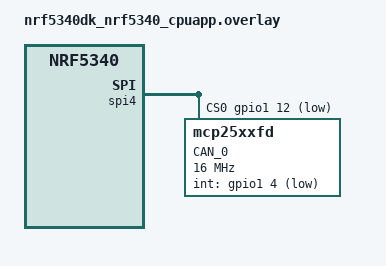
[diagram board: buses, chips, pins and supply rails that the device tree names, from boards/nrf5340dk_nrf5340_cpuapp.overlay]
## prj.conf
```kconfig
CONFIG_CAN=y
CONFIG_NET_L2_ETHERNET=n
CONFIG_CAN_MAX_FILTER=5

# CONFIG_NETWORKING=y
# CONFIG_NET_DRIVERS=y
# CONFIG_NET_CANBUS=y
# CONFIG_NET_SOCKETS=y
# CONFIG_NET_SOCKETS_CAN=y
# CONFIG_NET_SOCKETS_POSIX_NAMES=y

# CONFIG_NET_IPV6=n
# CONFIG_NET_IPV4=n
# CONFIG_NET_MGMT=n
# CONFIG_NET_TCP=n
# CONFIG_NET_UDP=n

# CONFIG_NET_DEFAULT_IF_CANBUS_RAW=y

# CONFIG_NET_PKT_RX_COUNT=30
# CONFIG_NET_PKT_TX_COUNT=30
# CONFIG_NET_BUF_RX_COUNT=30
# CONFIG_NET_BUF_TX_COUNT=30

# CONFIG_TEST_RANDOM_GENERATOR=y

# CONFIG_LOG=y
# CONFIG_NET_LOG=y

# CONFIG_NET_SOCKETS_LOG_LEVEL_DBG=y
# CONFIG_CAN_LOG_LEVEL_DBG=y
# #CONFIG_NET_CONTEXT_LOG_LEVEL_DBG=y
# #CONFIG_NET_CORE_LOG_LEVEL_DBG=y
# #CONFIG_NET_CONN_LOG_LEVEL_DBG=y

# # Use smaller buffers for net_buf as CANBUS packets are quite small.
# CONFIG_NET_BUF_DATA_SIZE=64

# # nothing here
# CONFIG_CAN=y
# # CONFIG_NET_L2_ETHERNET=n

# CONFIG_SPI=y

# CONFIG_CAN=y
# CONFIG_NET_L2_ETHERNET=n
# CONFIG_CAN_MAX_FILTER=5

# CONFIG_NETWORKING=y
# CONFIG_NET_DRIVERS=y
# CONFIG_NET_CANBUS=y
# CONFIG_NET_SOCKETS=y
# CONFIG_NET_SOCKETS_CAN=y
# CONFIG_NET_SOCKETS_POSIX_NAMES=y

# CONFIG_NET_IPV6=n
# CONFIG_NET_IPV4=n
# CONFIG_NET_MGMT=n
# CONFIG_NET_TCP=n
# CONFIG_NET_UDP=n

# CONFIG_NET_DEFAULT_IF_CANBUS_RAW=y

# CONFIG_NET_PKT_RX_COUNT=30
# CONFIG_NET_PKT_TX_COUNT=30
# CONFIG_NET_BUF_RX_COUNT=30
# CONFIG_NET_BUF_TX_COUNT=30

# CONFIG_TEST_RANDOM_GENERATOR=y

# CONFIG_LOG=y
# CONFIG_NET_LOG=y

# CONFIG_NET_SOCKETS_LOG_LEVEL_DBG=y
# CONFIG_CAN_LOG_LEVEL_DBG=y
# #CONFIG_NET_CONTEXT_LOG_LEVEL_DBG=y
# #CONFIG_NET_CORE_LOG_LEVEL_DBG=y
# #CONFIG_NET_CONN_LOG_LEVEL_DBG=y

# # Use smaller buffers for net_buf as CANBUS packets are quite small.
# CONFIG_NET_BUF_DATA_SIZE=64

CONFIG_POLL=y
CONFIG_CAN=y
CONFIG_CAN_INIT_PRIORITY=80
CONFIG_CAN_MAX_FILTER=5

CONFIG_SHELL=y
CONFIG_CAN_SHELL=y
CONFIG_DEVICE_SHELL=y

CONFIG_GPIO=y
CONFIG_STATS=y
CONFIG_STATS_NAMES=y
CONFIG_STATS_SHELL=y
CONFIG_CAN_STATS=y
```

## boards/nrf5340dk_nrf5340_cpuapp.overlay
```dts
/*
 * Copyright (c) 2021 Nordic Semiconductor ASA
 *
 * SPDX-License-Identifier: LicenseRef-Nordic-5-Clause
 */

&spi4 {
	compatible = "nordic,nrf-spim";
	status = "okay";
    cs-gpios = <&gpio1 12 GPIO_ACTIVE_LOW>; /* D10 */

    can0: mcp25xxfd@0 {
        // compatible = "microchip,mcp25xxfd";
        spi-max-frequency = <16000000>;
        // int-gpios = <&gpio0 5 GPIO_ACTIVE_LOW>;
        int-gpios = <&gpio1 4 GPIO_ACTIVE_LOW>; /* D2 */
        status = "okay";
        label = "CAN_0";
        reg = <0>;
        osc-freq = <40000000>;
        sof-on-clko;
        bus-speed = <1000000>;
        bus-speed-data = <8000000>;
        sjw = <5>;
        prop-seg = <18>;
        phase-seg1 = <10>;
        phase-seg2 = <11>;
        sjw-data = <1>;
        prop-seg-data = <0>;
        phase-seg1-data = <3>;
        phase-seg2-data = <1>;

        #address-cells = <1>;
        #size-cells = <0>;
    };
};

/ {
    chosen {
        zephyr,can-primary = &can0;
    };
};
```

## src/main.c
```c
/*
 * Copyright (c) 2018 Intel Corporation.
 *
 * SPDX-License-Identifier: Apache-2.0
 */

#include <zephyr/logging/log.h>
LOG_MODULE_REGISTER(net_socket_can_sample, LOG_LEVEL_DBG);

#include <zephyr/kernel.h>

#include <zephyr/drivers/can.h>
#include <zephyr/net/socket.h>
#include <zephyr/net/socketcan.h>
#include <zephyr/net/socketcan_utils.h>

// #define PRIORITY  k_thread_priority_get(k_current_get())
// #define STACKSIZE 1024
// #define SLEEP_PERIOD K_SECONDS(1)

// static k_tid_t tx_tid;
// static K_THREAD_STACK_DEFINE(tx_stack, STACKSIZE);
// static struct k_thread tx_data;

/* For testing purposes, we create another RX receiver if configured so */
#if CONFIG_NET_SOCKETS_CAN_RECEIVERS == 2
static k_tid_t rx_tid;
static K_THREAD_STACK_DEFINE(rx_stack, STACKSIZE);
static struct k_thread rx_data;
#endif

// #define SPI1_NODE DT_NODELABEL(spi4)
// static const struct device *spi1_dev=DEVICE_DT_GET(SPI1_NODE);

// #define CLOSE_PERIOD 15

// static const struct can_filter zfilter = {
// 	.flags = CAN_FILTER_DATA,
// 	.id = 0x1,
// 	.mask = CAN_STD_ID_MASK
// };

// static struct socketcan_filter sfilter;

// static void tx(int *can_fd)
// {
// 	int fd = POINTER_TO_INT(can_fd);
// 	struct can_frame zframe = {0};
// 	struct socketcan_frame sframe = {0};
// 	int ret, i;

// 	zframe.id = 0x1;
// 	zframe.dlc = 8U;

// 	for (i = 0; i < zframe.dlc; i++) {
// 		zframe.data[i] = 0xF0 | i;
// 	}

// 	socketcan_from_can_frame(&zframe, &sframe);

// 	LOG_DBG("Sending CAN data...");

// 	while (1) {
// 		ret = send(fd, &sframe, sizeof(sframe), 0);
// 		if (ret < 0) {
// 			LOG_ERR("Cannot send CAN frame (%d)", -errno);
// 		}

// 		k_sleep(SLEEP_PERIOD);
// 	}
// }

// static int create_socket(const struct socketcan_filter *sfilter)
// {
// 	struct sockaddr_can can_addr;
// 	int fd, ret;

// 	fd = socket(AF_CAN, SOCK_RAW, CAN_RAW);
// 	if (fd < 0) {
// 		LOG_ERR("Cannot create %s CAN socket (%d)", "2nd", fd);
// 		return fd;
// 	}

// 	can_addr.can_ifindex = net_if_get_by_iface(
// 		net_if_get_first_by_type(&NET_L2_GET_NAME(CANBUS_RAW)));
// 	can_addr.can_family = PF_CAN;

// 	ret = bind(fd, (struct sockaddr *)&can_addr, sizeof(can_addr));
// 	if (ret < 0) {
// 		LOG_ERR("Cannot bind %s CAN socket (%d)", "2nd", -errno);
// 		(void)close(fd);
// 		return ret;
// 	}

// 	(void)setsockopt(fd, SOL_CAN_RAW, CAN_RAW_FILTER, sfilter,
// 			 sizeof(*sfilter));

// 	return fd;
// }

// static void rx(int *can_fd, int *do_close_period,
// 	       const struct socketcan_filter *sfilter)
// {
// 	int close_period = POINTER_TO_INT(do_close_period);
// 	int fd = POINTER_TO_INT(can_fd);
// 	struct sockaddr_can can_addr;
// 	socklen_t addr_len;
// 	struct can_frame zframe;
// 	struct socketcan_frame sframe;
// 	int ret;

// 	LOG_DBG("[%d] Waiting CAN data...", fd);

// 	while (1) {
// 		uint8_t *data;

// 		memset(&sframe, 0, sizeof(sframe));
// 		addr_len = sizeof(can_addr);

// 		ret = recvfrom(fd, &sframe, sizeof(struct socketcan_frame),
// 			       0, (struct sockaddr *)&can_addr, &addr_len);
// 		if (ret < 0) {
// 			LOG_ERR("[%d] Cannot receive CAN frame (%d)", fd,
// 				-errno);
// 			continue;
// 		}

// 		socketcan_to_can_frame(&sframe, &zframe);

// 		LOG_INF("[%d] CAN frame: IDE 0x%x RTR 0x%x ID 0x%x DLC 0x%x",
// 			fd,
// 			(zframe.flags & CAN_FRAME_IDE) != 0 ? 1 : 0,
// 			(zframe.flags & CAN_FRAME_RTR) != 0 ? 1 : 0,
// 			zframe.id, zframe.dlc);

// 		if ((zframe.flags & CAN_FRAME_RTR) != 0) {
// 			LOG_INF("[%d] EXT Remote frame received", fd);
// 		} else {
// 			if (zframe.dlc > 8) {
// 				data = (uint8_t *)zframe.data_32;
// 			} else {
// 				data = zframe.data;
// 			}

// 			LOG_HEXDUMP_INF(data, zframe.dlc, "Data");
// 		}

// 		if (POINTER_TO_INT(do_close_period) > 0) {
// 			close_period--;
// 			if (close_period <= 0) {
// 				(void)close(fd);

// 				k_sleep(K_SECONDS(1));

// 				fd = create_socket(sfilter);
// 				if (fd < 0) {
// 					LOG_ERR("Cannot get socket (%d)",
// 						-errno);
// 					return;
// 				}

// 				close_period = POINTER_TO_INT(do_close_period);
// 			}
// 		}
// 	}
// }

// static int setup_socket(void)
// {
// 	struct sockaddr_can can_addr;
// 	struct net_if *iface;
// 	int fd, rx_fd;
// 	int ret;

// 	socketcan_from_can_filter(&zfilter, &sfilter);

// 	iface = net_if_get_first_by_type(&NET_L2_GET_NAME(CANBUS_RAW));
// 	if (!iface) {
// 		LOG_ERR("No CANBUS network interface found!");
// 		return -ENOENT;
// 	}

// 	fd = socket(AF_CAN, SOCK_RAW, CAN_RAW);
// 	if (fd < 0) {
// 		ret = -errno;
// 		LOG_ERR("Cannot create %s CAN socket (%d)", "1st", ret);
// 		return ret;
// 	}

// 	can_addr.can_ifindex = net_if_get_by_iface(iface);
// 	can_addr.can_family = PF_CAN;

// 	ret = bind(fd, (struct sockaddr *)&can_addr, sizeof(can_addr));
// 	if (ret < 0) {
// 		ret = -errno;
// 		LOG_ERR("Cannot bind %s CAN socket (%d)", "1st", ret);
// 		goto cleanup;
// 	}

// 	ret = setsockopt(fd, SOL_CAN_RAW, CAN_RAW_FILTER, &sfilter,
// 			 sizeof(sfilter));
// 	if (ret < 0) {
// 		ret = -errno;
// 		LOG_ERR("Cannot set CAN sockopt (%d)", ret);
// 		goto cleanup;
// 	}

// 	/* Delay TX startup so that RX is ready to receive */
// 	tx_tid = k_thread_create(&tx_data, tx_stack,
// 				 K_THREAD_STACK_SIZEOF(tx_stack),
// 				 (k_thread_entry_t)tx, INT_TO_POINTER(fd),
// 				 NULL, NULL, PRIORITY, 0, K_SECONDS(1));
// 	if (!tx_tid) {
// 		ret = -ENOENT;
// 		errno = -ret;
// 		LOG_ERR("Cannot create TX thread!");
// 		goto cleanup;
// 	}

// 	LOG_DBG("Started socket CAN TX thread");

// 	LOG_INF("1st RX fd %d", fd);

// 	rx_fd = fd;

// #if CONFIG_NET_SOCKETS_CAN_RECEIVERS == 2
// 	fd = create_socket(&sfilter);
// 	if (fd >= 0) {
// 		rx_tid = k_thread_create(&rx_data, rx_stack,
// 					 K_THREAD_STACK_SIZEOF(rx_stack),
// 					 (k_thread_entry_t)rx,
// 					 INT_TO_POINTER(fd),
// 					 INT_TO_POINTER(CLOSE_PERIOD),
// 					 &sfilter, PRIORITY, 0, K_NO_WAIT);
// 		if (!rx_tid) {
// 			ret = -ENOENT;
// 			errno = -ret;
// 			LOG_ERR("Cannot create 2nd RX thread!");
// 			goto cleanup2;
// 		}

// 		LOG_INF("2nd RX fd %d", fd);
// 	} else {
// 		LOG_ERR("2nd RX not created (%d)", fd);
// 	}
// #endif

// 	return rx_fd;

// #if CONFIG_NET_SOCKETS_CAN_RECEIVERS == 2
// cleanup2:
// 	(void)close(rx_fd);
// #endif

// cleanup:
// 	(void)close(fd);
// 	return ret;
// }

int main(void)
{
// 	const struct device *dev = DEVICE_DT_GET(DT_CHOSEN(zephyr_canbus));
// 	int ret;
// 	int fd;

// #ifdef CONFIG_SAMPLE_SOCKETCAN_LOOPBACK_MODE
// 	ret = can_set_mode(dev, CAN_MODE_LOOPBACK);
// 	if (ret != 0) {
// 		LOG_ERR("Cannot set CAN loopback mode (%d)", ret);
// 		return 0;
// 	}
// #endif

// 	ret = can_start(dev);
// 	if (ret != 0) {
// 		LOG_ERR("Cannot start CAN controller (%d)", ret);
// 		return 0;
// 	}

// 	/* Let the device start before doing anything */
// 	k_sleep(K_SECONDS(2));

// 	fd = setup_socket();
// 	if (fd < 0) {
// 		LOG_ERR("Cannot start CAN application (%d)", fd);
// 		return 0;
// 	}

// 	rx(INT_TO_POINTER(fd), NULL, NULL);
	return 0;
}
```
